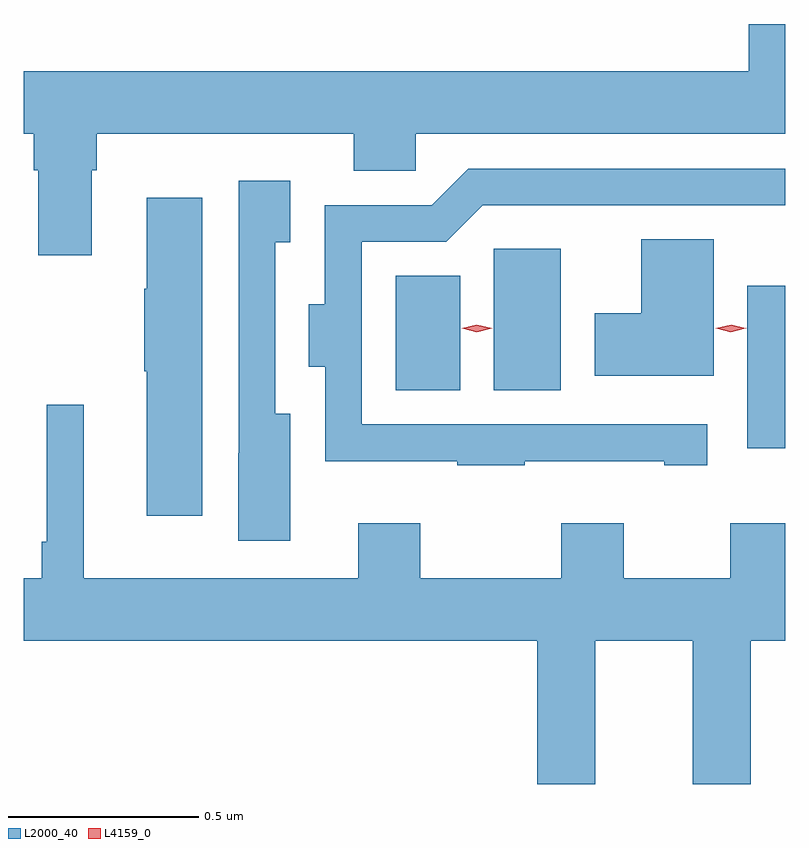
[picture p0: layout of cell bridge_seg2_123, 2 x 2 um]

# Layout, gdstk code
import gdstk
lib = gdstk.Library(unit=1e-6, precision=1e-09)
def R(c, l, rs):  # rectangles x0, y0, x1, y1
    for r in rs: c.add(gdstk.rectangle(r[:2], r[2:], *l))
def P(c, l, *ps):  # polygons
    for p in ps: c.add(gdstk.Polygon(p, *l))
L2000_40 = (2000, 40)
L4159_0 = (4159, 0)

bridge_seg2_123 = lib.new_cell('bridge_seg2_123')
R(bridge_seg2_123, L2000_40, [(459.734,658.797,459.833,659.224), (458.81,658.949,458.98,659.251), (459.068,658.949,459.244,659.322)])
P(bridge_seg2_123, L2000_40, [(458.011,659.528),(458.024,659.528),(458.024,659.624),(458.699,659.624),(458.699,659.526),(458.862,659.526),(458.862,659.624),(459.833,659.624),(459.833,659.912),(459.737,659.912),(459.737,659.788),(457.833,659.788),(457.833,659.624),(457.859,659.624),(457.859,659.528),(457.871,659.528),(457.871,659.304),(458.011,659.304)],
  [(459.149,658.763),(459.515,658.763),(459.515,658.752),(459.628,658.752),(459.628,658.86),(458.721,658.86),(458.721,659.34),(458.943,659.34),(459.039,659.436),(459.833,659.436),(459.833,659.532),(459,659.532),(458.904,659.436),(458.624,659.436),(458.624,659.176),(458.582,659.176),(458.582,659.012),(458.625,659.012),(458.625,658.763),(458.971,658.763),(458.971,658.752),(459.149,658.752)],
  [(458.533,658.888),(458.493,658.888),(458.493,659.339),(458.533,659.339),(458.533,659.5),(458.397,659.5),(458.397,658.784),(458.396,658.784),(458.396,658.554),(458.533,658.554)],
  [(458.302,659.455),(458.156,659.455),(458.156,659.216),(458.149,659.216),(458.149,658.999),(458.156,658.999),(458.156,658.62),(458.302,658.62)],
  [(459.646,659.347),(459.455,659.347),(459.455,659.152),(459.333,659.152),(459.333,658.988),(459.646,658.988)],
  [(459.334,658.292),(459.59,658.292),(459.59,657.915),(459.743,657.915),(459.743,658.292),(459.833,658.292),(459.833,658.6),(459.689,658.6),(459.689,658.456),(459.409,658.456),(459.409,658.6),(459.245,658.6),(459.245,658.456),(458.875,658.456),(458.875,658.6),(458.711,658.6),(458.711,658.456),(457.99,658.456),(457.99,658.912),(457.893,658.912),(457.893,658.552),(457.88,658.552),(457.88,658.456),(457.833,658.456),(457.833,658.292),(459.182,658.292),(459.182,657.915),(459.334,657.915)])
P(bridge_seg2_123, L4159_0, [(459.69,659.102),(459.651,659.112),(459.65,659.112),(459.651,659.112),(459.691,659.122),(459.73,659.112),(459.731,659.112),(459.73,659.112)],
  [(459.023,659.102),(458.983,659.112),(458.983,659.112),(458.983,659.112),(459.023,659.122),(459.063,659.112),(459.064,659.112),(459.063,659.112)])

lib.write_gds('bridge_seg2_123.gds')
